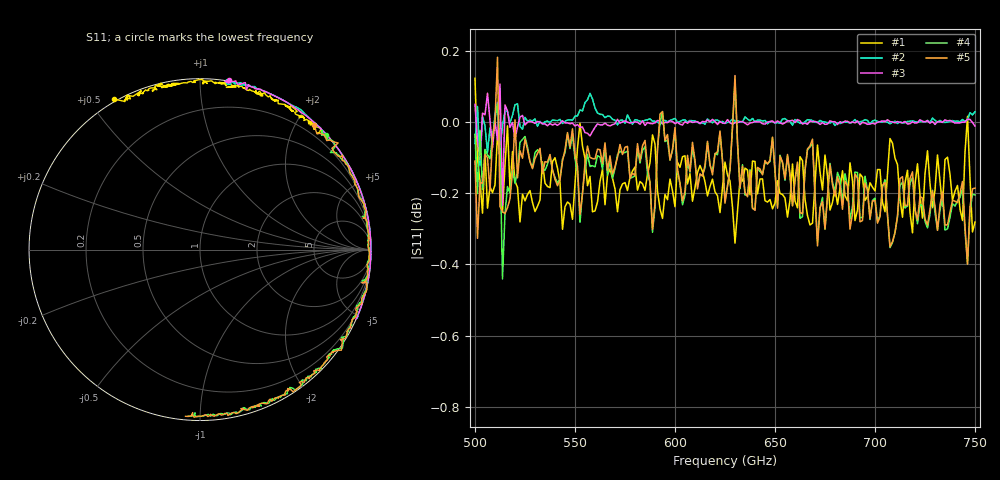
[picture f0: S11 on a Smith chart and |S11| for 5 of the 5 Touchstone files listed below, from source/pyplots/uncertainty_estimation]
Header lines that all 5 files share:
!Created with mwavepy.
# GHz S RI R 50.0
!freq	ReS11	ImS11
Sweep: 500 GHz to 750 GHz
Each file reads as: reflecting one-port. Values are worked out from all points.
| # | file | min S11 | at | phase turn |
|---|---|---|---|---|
| 1 | ewShim,5.s1p | -0.3 dB | 630 GHz | -75 deg |
| 2 | qwMilled,3.s1p | -0.1 dB | 502.5 GHz | -104 deg |
| 3 | qwMilled,4.s1p | -0.2 dB | 513.8 GHz | -105 deg |
| 4 | qwShim,2.s1p | -0.4 dB | 513.8 GHz | -136 deg |
| 5 | qwShim,4.s1p | -0.4 dB | 746.2 GHz | -142 deg |
